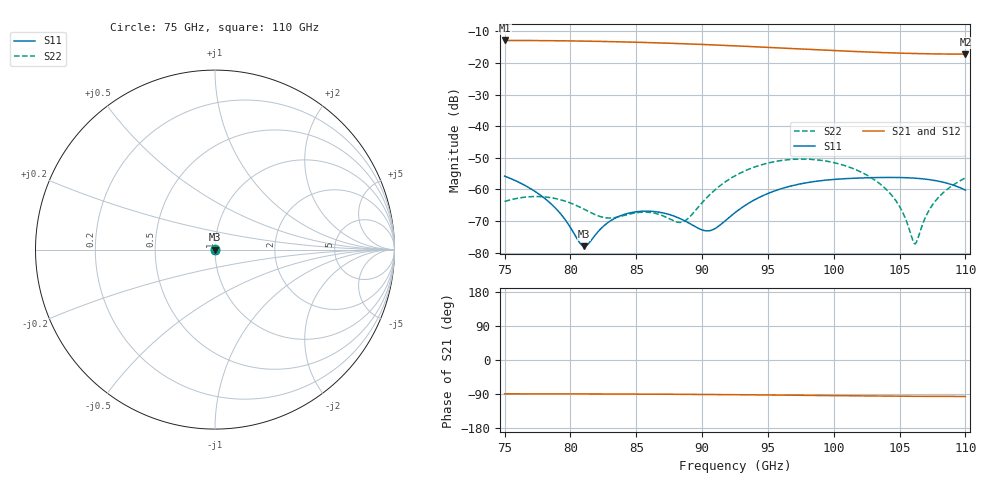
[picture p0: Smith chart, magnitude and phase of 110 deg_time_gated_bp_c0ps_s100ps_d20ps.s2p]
# Hz S RI R 50.000000
! Metas.Vna.Tools, 2.4.7724.19584
! Metas.Vna.Data, 2.4.7724.19560
! Created: UTC 2021.04.29 12:40:11
! FREQ  re:S1,1  im:S1,1  re:S2,1  im:S2,1  re:S1,2  im:S1,2  re:S2,2  im:S2,2
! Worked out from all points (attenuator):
!   1401 points, 75 GHz to 110 GHz, reference 50 ohm
!   highest |S21| = -12.90 dB at 75 GHz (marker M1); lowest = -17.2 dB at 110 GHz (marker M2)
!   lowest |S11| = -78.0 dB at 81.05 GHz (marker M3), VSWR 1.00, Z = 50 - j0.003 ohm
!   |S11| at or under -10 dB: start of sweep to end of sweep
!   |S22| runs from -77.2 to -50.4 dB; largest |S21 - S12| = 0.014
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7.5e10  0.000321 -0.00159  0.00281 -0.2264  0.00172 -0.2268  0.00017 0.000622
7.84e10  4.9e-05 -0.000624  0.00249 -0.2247  0.00122 -0.2251  8.27e-05 0.000741
7.95e10  -3.37e-05 -0.000353  0.00226 -0.2235  0.000849 -0.2239  -2.97e-05 0.000661
8.085e10  -0.000114 -6.75e-05  0.00188 -0.2215  0.000244 -0.2218  -0.000178 0.000476
8.105e10  -0.000123 -3e-05  0.00182 -0.2211  0.000141 -0.2215  -0.000198 0.000442
8.245e10  -0.000165 0.000195  0.00131 -0.2184  -0.000679 -0.2188  -0.000317 0.000176
8.3575e10  -0.000168 0.000325  0.00083 -0.2159  -0.00146 -0.2162  -0.000363 -4.3e-05
8.535e10  -0.000117 0.000435  -5.78e-05 -0.2113  -0.00292 -0.2115  -0.000309 -0.000307
8.6675e10  -4.28e-05 0.000436  -0.000818 -0.2073  -0.00419 -0.2074  -0.000155 -0.000375
8.8625e10  9.51e-05 0.000309  -0.00207 -0.2008  -0.0063 -0.2008  0.000238 -0.000202
9.055e10  0.000218 4.22e-05  -0.00345 -0.1937  -0.00864 -0.1936  0.000765 0.000275
9.25e10  0.000271 -0.000332  -0.00496 -0.186  -0.0112 -0.1857  0.00134 0.000939
9.51e10  0.000151 -0.000866  -0.00705 -0.1754  -0.0149 -0.1749  0.00199 0.00173
9.835e10  -0.000341 -0.00127  -0.00964 -0.1625  -0.0195 -0.1616  0.00228 0.00192
1.01675e11  -0.00103 -0.0011  -0.012 -0.1508  -0.0237 -0.1496  0.00175 0.00106
1.04175e11  -0.00142 -0.000621  -0.0134 -0.1439  -0.0262 -0.1425  0.000881 0.000237
1.05125e11  -0.00148 -0.000409  -0.0138 -0.1418  -0.027 -0.1404  0.000482 1.13e-05
1.06175e11  -0.00149 -0.000182  -0.0142 -0.1399  -0.0277 -0.1384  2.27e-05 -0.000136
1.0705e11  -0.00145 -9.93e-06  -0.0144 -0.1387  -0.0282 -0.1371  -0.00036 -0.000164
1.07675e11  -0.00138 9.76e-05  -0.0146 -0.138  -0.0284 -0.1364  -0.000626 -0.000127
1.087e11  -0.00121 0.000239  -0.0148 -0.1372  -0.0287 -0.1356  -0.00103 3.04e-05
1.1e11  -0.000911 0.000346  -0.0148 -0.1368  -0.0289 -0.1352  -0.00147 0.000382
